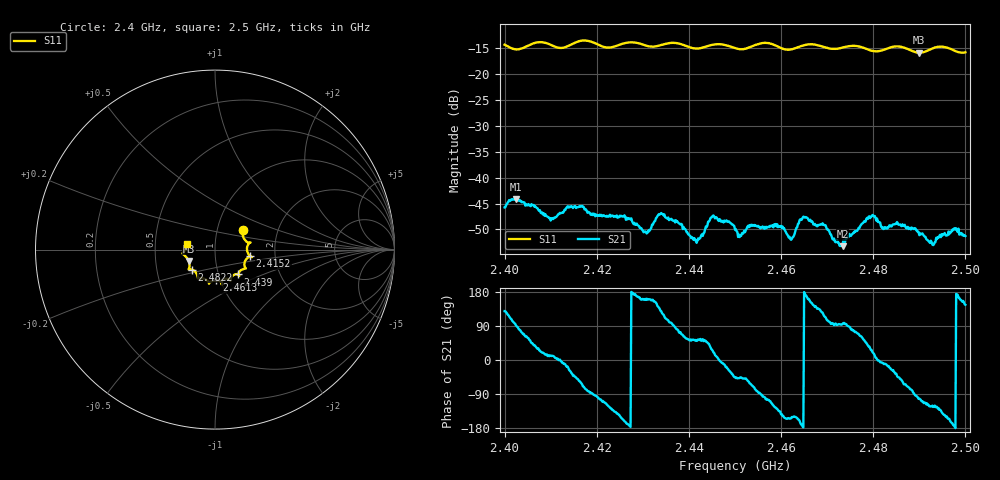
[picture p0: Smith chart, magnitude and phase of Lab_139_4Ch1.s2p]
# Hz S RI R 50
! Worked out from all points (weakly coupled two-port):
!   601 points, 2.4 GHz to 2.5 GHz, reference 50 ohm
!   highest |S21| = -44.14 dB at 2.4025 GHz (marker M1); lowest = -53.2 dB at 2.4733 GHz (marker M2)
!   lowest |S11| = -15.9 dB at 2.49 GHz (marker M3), VSWR 1.38, Z = 36.9 - j4.82 ohm
!   |S11| at or under -10 dB: start of sweep to end of sweep
!   S12 and S22 are empty: the file has one direction only
!   S11 on the Smith chart (normalised r, x): 2.4 GHz: 1.33, +0.31; 2.4152 GHz: 1.48, -0.11; 2.439 GHz: 1.24, -0.36; 2.4613 GHz: 0.96, -0.34; 2.4822 GHz: 0.76, -0.17; 2.5 GHz: 0.73, +0.05
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2.4e9  0.1554 0.1114  -0.00324 0.004  0 0  0 0
2.4025e9  0.1573 0.0697  -3e-05 0.00621  0 0  0 0
2.41e9  0.188 0.0326  0.00377 0.000774  0 0  0 0
2.415167e9  0.1953 -0.0364  0.0038 -0.00358  0 0  0 0
2.416667e9  0.2048 -0.0423  0.0025 -0.00471  0 0  0 0
2.430667e9  0.1508 -0.1117  -0.00278 0.00107  0 0  0 0
2.433333e9  0.1318 -0.1321  -0.00337 0.00277  0 0  0 0
2.439e9  0.1282 -0.1385  0.00152 0.00283  0 0  0 0
2.441833e9  0.1005 -0.1441  0.00154 0.00191  0 0  0 0
2.445333e9  0.0844 -0.1719  0.00406 0.00147  0 0  0 0
2.45e9  0.0689 -0.1635  0.0022 -0.00224  0 0  0 0
2.461333e9  0.00765 -0.1709  -0.00257 -0.00118  0 0  0 0
2.464667e9  -0.0312 -0.1847  -0.00408 -0.000326  0 0  0 0
2.466667e9  -0.0335 -0.1901  -0.00331 0.00188  0 0  0 0
2.473333e9  -0.0806 -0.1601  -0.0002 0.00217  0 0  0 0
2.4795e9  -0.1036 -0.1323  0.00376 0.00187  0 0  0 0
2.482167e9  -0.1282 -0.1117  0.00315 -0.000473  0 0  0 0
2.483333e9  -0.1393 -0.1102  0.00319 -0.000904  0 0  0 0
2.49e9  -0.1467 -0.0636  -0.000575 -0.00272  0 0  0 0
2.492833e9  -0.1736 -0.0287  -0.00114 -0.00195  0 0  0 0
2.497667e9  -0.1671 -0.00414  -0.00324 -0.000244  0 0  0 0
2.5e9  -0.1581 0.0335  -0.00225 0.00154  0 0  0 0
